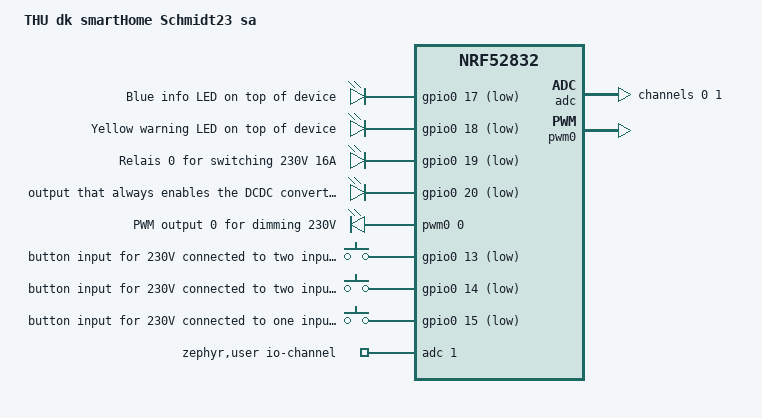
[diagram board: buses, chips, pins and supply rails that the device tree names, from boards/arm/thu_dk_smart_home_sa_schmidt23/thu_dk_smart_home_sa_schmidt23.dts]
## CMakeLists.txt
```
#
# Copyright (c) 2019 Nordic Semiconductor ASA
#
# SPDX-License-Identifier: LicenseRef-Nordic-5-Clause
#
cmake_minimum_required(VERSION 3.20.0)

find_package(Zephyr REQUIRED HINTS $ENV{ZEPHYR_BASE})
project(NONE)

# NORDIC SDK APP START
target_sources(app PRIVATE
	src/main.c
  src/conversion_helpers.c
	src/model_handler.c
  src/health_model.c
  src/relais_model.c
  src/lvl_model.c
  src/lightness_model.c
  src/relais_cli_mod.c
  src/lvl_cli_mod.c
  src/temperature_watchdog.c
  src/gpio_pwm_helpers.c)
target_include_directories(app PRIVATE include)

# Preinitialization related to DFU over SMP for nRF52 series
if(CONFIG_SOC_SERIES_NRF52X)
  target_sources_ifdef(CONFIG_MCUMGR_SMP_BT app PRIVATE
    src/smp_dfu.c)
endif()

# NORDIC SDK APP END
```

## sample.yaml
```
sample:
  description: Bluetooth mesh light sample
  name: Bluetooth mesh light
tests:
  sample.bluetooth.mesh.light:
    build_only: true
    integration_platforms:
      - nrf52dk_nrf52832
      - nrf52840dk_nrf52840
      - nrf52833dk_nrf52833
      - nrf5340dk_nrf5340_cpuapp
      - nrf5340dk_nrf5340_cpuapp_ns
      - thingy53_nrf5340_cpuapp
      - thingy53_nrf5340_cpuapp_ns
      - nrf21540dk_nrf52840
      - thu_proto_v1_0
    platform_allow: nrf52dk_nrf52832 nrf52840dk_nrf52840 nrf5340dk_nrf5340_cpuapp
      nrf5340dk_nrf5340_cpuapp_ns thingy53_nrf5340_cpuapp thingy53_nrf5340_cpuapp_ns
      nrf21540dk_nrf52840 nrf52833dk_nrf52833 thu_proto_v1_0
    tags: bluetooth ci_build
```

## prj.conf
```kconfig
#
# Copyright (c) 2019 Nordic Semiconductor ASA
#
# SPDX-License-Identifier: LicenseRef-Nordic-5-Clause
#
CONFIG_NCS_SAMPLES_DEFAULTS=y

# Deffered logging helps improve LPN power consumption
# when friendship is established.
CONFIG_LOG_MODE_DEFERRED=y

CONFIG_LOG_MAX_LEVEL=4

# General configuration
CONFIG_SYSTEM_WORKQUEUE_STACK_SIZE=2048
CONFIG_FLASH=y
CONFIG_FLASH_MAP=y
CONFIG_NVS=y
CONFIG_SETTINGS=y
CONFIG_HWINFO=y
CONFIG_DK_LIBRARY=n
CONFIG_PM_SINGLE_IMAGE=y
CONFIG_PM_PARTITION_SIZE_SETTINGS_STORAGE=0x8000
CONFIG_SOC_FLASH_NRF_PARTIAL_ERASE=y

# Bluetooth configuration
CONFIG_BT=y
# CONFIG_BT_COMPANY_ID=0x0059
CONFIG_BT_DEVICE_NAME="THU SH Mesh"
CONFIG_BT_L2CAP_TX_MTU=69
CONFIG_BT_L2CAP_TX_BUF_COUNT=8
CONFIG_BT_OBSERVER=y
CONFIG_BT_PERIPHERAL=y
CONFIG_BT_SETTINGS=y
CONFIG_BT_RX_STACK_SIZE=2150

# Disable unused Bluetooth features
CONFIG_BT_CTLR_DUP_FILTER_LEN=0
CONFIG_BT_CTLR_LE_ENC=n
CONFIG_BT_DATA_LEN_UPDATE=n
CONFIG_BT_PHY_UPDATE=n
CONFIG_BT_CTLR_CHAN_SEL_2=n
CONFIG_BT_CTLR_MIN_USED_CHAN=n
CONFIG_BT_CTLR_PRIVACY=n

# Bluetooth mesh configuration
CONFIG_BT_MESH=y
CONFIG_BT_MESH_RELAY=y
CONFIG_BT_MESH_FRIEND=y
CONFIG_BT_MESH_ADV_BUF_COUNT=13
CONFIG_BT_MESH_TX_SEG_MAX=10
CONFIG_BT_MESH_PB_GATT=y
CONFIG_BT_MESH_GATT_PROXY=y
CONFIG_BT_MESH_PROXY_USE_DEVICE_NAME=y
CONFIG_BT_MESH_DK_PROV=n

# Bluetooth mesh server models
CONFIG_BT_MESH_ONOFF_SRV=y
CONFIG_BT_MESH_LVL_SRV=y
CONFIG_BT_MESH_LIGHT_CTL_SRV=y
# Bluetooth mesh client models
CONFIG_BT_MESH_ONOFF_CLI=y
CONFIG_BT_MESH_LVL_CLI=y


# I/O configuration
CONFIG_PWM=y
CONFIG_ADC=y
```

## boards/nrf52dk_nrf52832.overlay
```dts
/ {
	zephyr,user {
	   io-channels = <&adc 1>;
	};

	aliases {
		//added for Hausautomatisierung
		//outputs
		healthinfoled = &led3;
		relaisoutput = &led1;
		relaiscloseoutput = &led1;
		dimmeroutput = &pwm_led0;
		dcdcen = &led2;
		//inputs
		relaistogglebutton = &button0;
		relaisleverrisingedge = &button0;
		relaisleverfallingedge = &button1;
		dimmonoffbuttonrisingedge = &button2;
		dimmonoffbuttonfallingedge = &button3;
		// end of Hausautomatisierung
	};
 };

 &adc {
	#address-cells = <1>;	//numer of cells required to represent a physical address
	#size-cells = <0>;		//number of cells required to represent the size of nodes that are children of this node

	channel@0 {
		reg = <0>;
		zephyr,gain = "ADC_GAIN_1_6";
		zephyr,reference = "ADC_REF_INTERNAL";
		zephyr,acquisition-time = <ADC_ACQ_TIME_DEFAULT>;
		zephyr,input-positive = <NRF_SAADC_AIN0>; /* P0.02 */
		zephyr,resolution = <12>;
		//zephyr,oversampling = < 4 >;
	};
	channel@1 {
		reg = <1>;		//describes the address of the device’s resources within the address space defined by its parent bus. Mostly is an offset
		zephyr,gain = "ADC_GAIN_1_6";
		zephyr,reference = "ADC_REF_INTERNAL";
		zephyr,acquisition-time = <ADC_ACQ_TIME_DEFAULT>;
		zephyr,input-positive = <NRF_SAADC_AIN1>; /* P0.03 */
		zephyr,resolution = <12>;
	};
	channel@2 {
		reg = <2>;		//describes the address of the device’s resources within the address space defined by its parent bus. Mostly is an offset
		zephyr,gain = "ADC_GAIN_1_6";
		zephyr,reference = "ADC_REF_INTERNAL";
		zephyr,acquisition-time = <ADC_ACQ_TIME_DEFAULT>;
		zephyr,input-positive = <NRF_SAADC_AIN2>; /* P0.04 */
		zephyr,resolution = <12>;
	};
	channel@3 {
		reg = <3>;		//describes the address of the device’s resources within the address space defined by its parent bus. Mostly is an offset
		zephyr,gain = "ADC_GAIN_1_6";
		zephyr,reference = "ADC_REF_INTERNAL";
		zephyr,acquisition-time = <ADC_ACQ_TIME_DEFAULT>;
		zephyr,input-positive = <NRF_SAADC_AIN3>; /* P0.05 */
		zephyr,resolution = <12>;
	};
	channel@4 {
		reg = <4>;		//describes the address of the device’s resources within the address space defined by its parent bus. Mostly is an offset
		zephyr,gain = "ADC_GAIN_1_6";
		zephyr,reference = "ADC_REF_INTERNAL";
		zephyr,acquisition-time = <ADC_ACQ_TIME_DEFAULT>;
		zephyr,input-positive = <NRF_SAADC_AIN4>; /* P0.28 */
		zephyr,resolution = <12>;
	};
	channel@5 {
		reg = <5>;		//describes the address of the device’s resources within the address space defined by its parent bus. Mostly is an offset
		zephyr,gain = "ADC_GAIN_1_6";
		zephyr,reference = "ADC_REF_INTERNAL";
		zephyr,acquisition-time = <ADC_ACQ_TIME_DEFAULT>;
		zephyr,input-positive = <NRF_SAADC_AIN5>; /* P0.29 */
		zephyr,resolution = <12>;
	};
	channel@6 {
		reg = <6>;		//describes the address of the device’s resources within the address space defined by its parent bus. Mostly is an offset
		zephyr,gain = "ADC_GAIN_1_6";
		zephyr,reference = "ADC_REF_INTERNAL";
		zephyr,acquisition-time = <ADC_ACQ_TIME_DEFAULT>;
		zephyr,input-positive = <NRF_SAADC_AIN6>; /* P0.30 */
		zephyr,resolution = <12>;
	};
	channel@7 {
		reg = <7>;		//describes the address of the device’s resources within the address space defined by its parent bus. Mostly is an offset
		zephyr,gain = "ADC_GAIN_1_6";
		zephyr,reference = "ADC_REF_INTERNAL";
		zephyr,acquisition-time = <ADC_ACQ_TIME_DEFAULT>;
		zephyr,input-positive = <NRF_SAADC_AIN7>; /* P0.31 */
		zephyr,resolution = <12>;
	};

};
&arduino_header {
	gpio-map = <0 0 &gpio0 3 0>,
			   <1 0 &gpio0 4 0>,
			   <2 0 &gpio0 28 0>,
			   <3 0 &gpio0 29 0>,
			   <4 0 &gpio0 30 0>,
			   <5 0 &gpio0 31 0>,
			   <6 0 &gpio0 11 0>,
			   <7 0 &gpio0 12 0>,
			   <8 0 &gpio0 13 0>,
			   <9 0 &gpio0 14 0>,
			   <10 0 &gpio0 15 0>,
			   <11 0 &gpio0 16 0>,
			   <12 0 &gpio0 17 0>,
			   <13 0 &gpio0 18 0>,
			   <14 0 &gpio0 19 0>,
			   <15 0 &gpio0 20 0>,
			   <16 0 &gpio0 22 0>,
			   <17 0 &gpio0 23 0>,
			   <18 0 &gpio0 24 0>,
			   <19 0 &gpio0 25 0>,
			   <20 0 &gpio0 26 0>,
			   <21 0 &gpio0 27 0>;
};
```

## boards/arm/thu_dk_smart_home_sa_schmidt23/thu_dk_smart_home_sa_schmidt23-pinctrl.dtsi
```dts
/*
 * Copyright (c) 2022 Nordic Semiconductor
 * SPDX-License-Identifier: Apache-2.0
 */

&pinctrl {
	// uart0_default: uart0_default {
	// 	group1 {
	// 		psels = <NRF_PSEL(UART_TX, 0, 6)>,
	// 			<NRF_PSEL(UART_RX, 0, 8)>,
	// 			<NRF_PSEL(UART_RTS, 0, 5)>,
	// 			<NRF_PSEL(UART_CTS, 0, 7)>;
	// 	};
	// };

	// uart0_sleep: uart0_sleep {
	// 	group1 {
	// 		psels = <NRF_PSEL(UART_TX, 0, 6)>,
	// 			<NRF_PSEL(UART_RX, 0, 8)>,
	// 			<NRF_PSEL(UART_RTS, 0, 5)>,
	// 			<NRF_PSEL(UART_CTS, 0, 7)>;
	// 		low-power-enable;
	// 	};
	// };

	// i2c0_default: i2c0_default {
	// 	group1 {
	// 		psels = <NRF_PSEL(TWIM_SDA, 0, 26)>,
	// 			<NRF_PSEL(TWIM_SCL, 0, 27)>;
	// 	};
	// };

	// i2c0_sleep: i2c0_sleep {
	// 	group1 {
	// 		psels = <NRF_PSEL(TWIM_SDA, 0, 26)>,
	// 			<NRF_PSEL(TWIM_SCL, 0, 27)>;
	// 		low-power-enable;
	// 	};
	// };

	// i2c1_default: i2c1_default {
	// 	group1 {
	// 		psels = <NRF_PSEL(TWIM_SDA, 0, 30)>,
	// 			<NRF_PSEL(TWIM_SCL, 0, 31)>;
	// 	};
	// };

	// i2c1_sleep: i2c1_sleep {
	// 	group1 {
	// 		psels = <NRF_PSEL(TWIM_SDA, 0, 30)>,
	// 			<NRF_PSEL(TWIM_SCL, 0, 31)>;
	// 		low-power-enable;
	// 	};
	// };

	pwm0_default: pwm0_default {
		group1 {
			psels = <NRF_PSEL(PWM_OUT0, 0, 17)>;
			nordic,invert;
		};
	};

	pwm0_sleep: pwm0_sleep {
		group1 {
			psels = <NRF_PSEL(PWM_OUT0, 0, 17)>;
			low-power-enable;
		};
	};

	// spi0_default: spi0_default {
	// 	group1 {
	// 		psels = <NRF_PSEL(SPIM_SCK, 0, 27)>,
	// 			<NRF_PSEL(SPIM_MOSI, 0, 26)>,
	// 			<NRF_PSEL(SPIM_MISO, 0, 28)>;
	// 	};
	// };

	// spi0_sleep: spi0_sleep {
	// 	group1 {
	// 		psels = <NRF_PSEL(SPIM_SCK, 0, 27)>,
	// 			<NRF_PSEL(SPIM_MOSI, 0, 26)>,
	// 			<NRF_PSEL(SPIM_MISO, 0, 28)>;
	// 		low-power-enable;
	// 	};
	// };

	// spi1_default: spi1_default {
	// 	group1 {
	// 		psels = <NRF_PSEL(SPIM_SCK, 0, 31)>,
	// 			<NRF_PSEL(SPIM_MOSI, 0, 30)>,
	// 			<NRF_PSEL(SPIM_MISO, 0, 29)>;
	// 	};
	// };

	// spi1_sleep: spi1_sleep {
	// 	group1 {
	// 		psels = <NRF_PSEL(SPIM_SCK, 0, 31)>,
	// 			<NRF_PSEL(SPIM_MOSI, 0, 30)>,
	// 			<NRF_PSEL(SPIM_MISO, 0, 29)>;
	// 		low-power-enable;
	// 	};
	// };

	// spi2_default: spi2_default {
	// 	group1 {
	// 		psels = <NRF_PSEL(SPIM_SCK, 0, 25)>,
	// 			<NRF_PSEL(SPIM_MOSI, 0, 23)>,
	// 			<NRF_PSEL(SPIM_MISO, 0, 24)>;
	// 	};
	// };

	// spi2_sleep: spi2_sleep {
	// 	group1 {
	// 		psels = <NRF_PSEL(SPIM_SCK, 0, 25)>,
	// 			<NRF_PSEL(SPIM_MOSI, 0, 23)>,
	// 			<NRF_PSEL(SPIM_MISO, 0, 24)>;
	// 		low-power-enable;
	// 	};
	// };

};
```

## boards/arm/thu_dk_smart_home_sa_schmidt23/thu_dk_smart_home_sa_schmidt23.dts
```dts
// Copyright (c) 2023 Nordic Semiconductor ASA
// SPDX-License-Identifier: Apache-2.0

/dts-v1/;
#include <nordic/nrf52832_qfaa.dtsi>
#include "thu_dk_smart_home_sa_schmidt23-pinctrl.dtsi"

/ {
	model = "THU dk smartHome Schmidt23 sa";
	compatible = "thu,thu-dk-smart-home-sa-schmidt23";

	chosen {
		zephyr,sram = &sram0;
		zephyr,flash = &flash0;
		zephyr,code-partition = &slot0_partition;
	};


	//TODO: maybe rename to outputs later
	leds {
		compatible = "gpio-leds";
		infoled0: info_led0 {
			//TODO: select right gpio
			gpios = <&gpio0 17 GPIO_ACTIVE_LOW>;
			label = "Blue info LED on top of device";
		};
		warnled1: warn_led1 {
			//TODO: select right gpio
			gpios = <&gpio0 18 GPIO_ACTIVE_LOW>;
			label = "Yellow warning LED on top of device";
		};
		relaisout0: relais_output0 {
			//TODO: select right gpio
			gpios = <&gpio0 19 GPIO_ACTIVE_LOW>;
			label = "Relais 0 for switching 230V 16A";
		};
		dcdcen: dcdc_enable {
			//TODO: select right gpio
			gpios = <&gpio0 20 GPIO_ACTIVE_LOW>;
			label = "output that always enables the DCDC converter for the power supply";
		};
	};


	pwmoutputs {
		compatible = "pwm-leds";
		pwm_output0: pwm_output_0 {
			//TODO: select right pin
			pwms = <&pwm0 0 PWM_MSEC(20) PWM_POLARITY_INVERTED>;
			label = "PWM output 0 for dimming 230V";
		};
	};


	buttons {
		compatible = "gpio-keys";
		button230v0a: button_230v_0_a {
			//TODO: select right pin
			gpios = <&gpio0 13 (GPIO_PULL_UP | GPIO_ACTIVE_LOW)>;
			label = "button input for 230V connected to two inputs (0a)";
		};
		button230v0b: button_230v_0_b {
			//TODO: select right pin
			gpios = <&gpio0 14 (GPIO_PULL_UP | GPIO_ACTIVE_LOW)>;
			label = "button input for 230V connected to two inputs (ob)";
		};
		button230v1: button_230v_1 {
			//TODO: select right pin
			gpios = <&gpio0 15 (GPIO_PULL_UP | GPIO_ACTIVE_LOW)>;
			label = "button input for 230V connected to one input (1)";
		};
	};


	aliases {
		led0 = &infoled0;
		led1 = &warnled1;
		relaisout0 = &relaisout0;
		dcdcen = &dcdcen;
		pwm-output0 = &pwm_output0;
		button230v0a = &button230v0a;
		button230v0b = &button230v0b;
		button230v1 = &button230v1;
		// bootloader-led0 = &infoled0;
		// mcuboot-button0 = &button230v0a;
		// mcuboot-led0 = &infoled0;
		// watchdog0 = &wdt0;

		// === added for smartHome === //
		//outputs
		infogreenled = &infoled0;
		relaisoutput = &relaisout0;
		dimmeroutput = &pwm_output0;
		//inputs
		relaistogglebutton = &button230v1;
		dimmonoffbuttonrisingedge = &button230v0a;
		dimmonoffbuttonfallingedge = &button230v0b;
		// end of Hausautomatisierung
	};
};

&adc {
	status = "okay";
};

&gpiote {
	status = "okay";
};




//for the leds branch:
&gpio0 {
	status = "okay";
};

//for the pwm outputs branch:
&pwm0 {
	status = "okay";
	pinctrl-0 = <&pwm0_default>;
	pinctrl-1 = <&pwm0_sleep>;
	pinctrl-names = "default", "sleep";
};

&flash0 {
	partitions {
		compatible = "fixed-partitions";
		#address-cells = <1>;
		#size-cells = <1>;

		boot_partition: partition@0 {
			label = "mcuboot";
			reg = <0x0 0xc000>;
		};
		slot0_partition: partition@c000 {
			label = "image-0";
			reg = <0xc000 0x32000>;
		};
		slot1_partition: partition@3e000 {
			label = "image-1";
			reg = <0x3e000 0x32000>;
		};
		scratch_partition: partition@70000 {
			label = "image-scratch";
			reg = <0x70000 0xa000>;
		};
		storage_partition: partition@7a000 {
			label = "storage";
			reg = <0x7a000 0x6000>;
		};
	};
};




//copied from overlay file:
/ {
	zephyr,user {
	   io-channels = <&adc 1>;
	};
};

&adc {
	status = "okay";
	#address-cells = <1>;	//numer of cells required to represent a physical address
	#size-cells = <0>;		//number of cells required to represent the size of nodes that are children of this node

	channel@0 {
		reg = <0>;
		zephyr,gain = "ADC_GAIN_1_6";
		zephyr,reference = "ADC_REF_INTERNAL";
		zephyr,acquisition-time = <ADC_ACQ_TIME_DEFAULT>;
		zephyr,input-positive = <NRF_SAADC_AIN0>; /* P0.02 */
		zephyr,resolution = <12>;
		//zephyr,oversampling = < 4 >;
	};
	channel@1 {
		reg = <1>;		//describes the address of the device’s resources within the address space defined by its parent bus. Mostly is an offset
		zephyr,gain = "ADC_GAIN_1_6";
		zephyr,reference = "ADC_REF_INTERNAL";
		zephyr,acquisition-time = <ADC_ACQ_TIME_DEFAULT>;
		zephyr,input-positive = <NRF_SAADC_AIN1>; /* P0.03 */
		zephyr,resolution = <12>;
	};
};
```

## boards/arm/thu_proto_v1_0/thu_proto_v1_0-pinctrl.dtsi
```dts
/*
 * Copyright (c) 2022 Nordic Semiconductor
 * SPDX-License-Identifier: Apache-2.0
 */

 &pinctrl {
	uart0_default: uart0_default {
		group1 {
			psels = <NRF_PSEL(UART_TX, 0, 6)>,
				<NRF_PSEL(UART_RX, 0, 8)>,
				<NRF_PSEL(UART_RTS, 0, 5)>,
				<NRF_PSEL(UART_CTS, 0, 7)>;
		};
	};

	uart0_sleep: uart0_sleep {
		group1 {
			psels = <NRF_PSEL(UART_TX, 0, 6)>,
				<NRF_PSEL(UART_RX, 0, 8)>,
				<NRF_PSEL(UART_RTS, 0, 5)>,
				<NRF_PSEL(UART_CTS, 0, 7)>;
			low-power-enable;
		};
	};

	i2c0_default: i2c0_default {
		group1 {
			psels = <NRF_PSEL(TWIM_SDA, 0, 26)>,
				<NRF_PSEL(TWIM_SCL, 0, 27)>;
		};
	};

	i2c0_sleep: i2c0_sleep {
		group1 {
			psels = <NRF_PSEL(TWIM_SDA, 0, 26)>,
				<NRF_PSEL(TWIM_SCL, 0, 27)>;
			low-power-enable;
		};
	};

	i2c1_default: i2c1_default {
		group1 {
			psels = <NRF_PSEL(TWIM_SDA, 0, 30)>,
				<NRF_PSEL(TWIM_SCL, 0, 31)>;
		};
	};

	i2c1_sleep: i2c1_sleep {
		group1 {
			psels = <NRF_PSEL(TWIM_SDA, 0, 30)>,
				<NRF_PSEL(TWIM_SCL, 0, 31)>;
			low-power-enable;
		};
	};

	pwm0_default: pwm0_default {
		group1 {
			psels = <NRF_PSEL(PWM_OUT0, 0, 17)>;
			nordic,invert;
		};
	};

	pwm0_sleep: pwm0_sleep {
		group1 {
			psels = <NRF_PSEL(PWM_OUT0, 0, 17)>;
			low-power-enable;
		};
	};

	spi0_default: spi0_default {
		group1 {
			psels = <NRF_PSEL(SPIM_SCK, 0, 27)>,
				<NRF_PSEL(SPIM_MOSI, 0, 26)>,
				<NRF_PSEL(SPIM_MISO, 0, 28)>;
		};
	};

	spi0_sleep: spi0_sleep {
		group1 {
			psels = <NRF_PSEL(SPIM_SCK, 0, 27)>,
				<NRF_PSEL(SPIM_MOSI, 0, 26)>,
				<NRF_PSEL(SPIM_MISO, 0, 28)>;
			low-power-enable;
		};
	};

	spi1_default: spi1_default {
		group1 {
			psels = <NRF_PSEL(SPIM_SCK, 0, 31)>,
				<NRF_PSEL(SPIM_MOSI, 0, 30)>,
				<NRF_PSEL(SPIM_MISO, 0, 29)>;
		};
	};

	spi1_sleep: spi1_sleep {
		group1 {
			psels = <NRF_PSEL(SPIM_SCK, 0, 31)>,
				<NRF_PSEL(SPIM_MOSI, 0, 30)>,
				<NRF_PSEL(SPIM_MISO, 0, 29)>;
			low-power-enable;
		};
	};

	spi2_default: spi2_default {
		group1 {
			psels = <NRF_PSEL(SPIM_SCK, 0, 25)>,
				<NRF_PSEL(SPIM_MOSI, 0, 23)>,
				<NRF_PSEL(SPIM_MISO, 0, 24)>;
		};
	};

	spi2_sleep: spi2_sleep {
		group1 {
			psels = <NRF_PSEL(SPIM_SCK, 0, 25)>,
				<NRF_PSEL(SPIM_MOSI, 0, 23)>,
				<NRF_PSEL(SPIM_MISO, 0, 24)>;
			low-power-enable;
		};
	};

};
```

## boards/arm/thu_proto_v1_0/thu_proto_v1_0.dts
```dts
// Copyright (c) 2023 Nordic Semiconductor ASA
// SPDX-License-Identifier: Apache-2.0

/dts-v1/;
#include <nordic/nrf52832_qfaa.dtsi>
#include "thu_proto_v1_0-pinctrl.dtsi"

/ {
	model = "thu prototype pcb v1_0";
	compatible = "thu,thu-proto-v1-0";

	chosen {
		zephyr,sram = &sram0;
		zephyr,flash = &flash0;
		zephyr,code-partition = &slot0_partition;
	};

	leds {
		compatible = "gpio-leds";
		infoled0: info_led0 {
			gpios = <&gpio0 1 GPIO_ACTIVE_HIGH>;
			label = "Blue info LED on top of device";
		};
		warnled1: warn_led1 {
			gpios = <&gpio0 2 GPIO_ACTIVE_HIGH>;
			label = "Yellow warning LED on top of device";
		};
		relaisout0set: relais_output0_set {
			gpios = <&gpio0 14 GPIO_ACTIVE_HIGH>;
			label = "Relais 0 for switching on 230V 16A or toggling led on devKit";
		};
		relaisout0reset: relais_output0_reset {
			gpios = <&gpio0 15 GPIO_ACTIVE_HIGH>;
			label = "Relais 0 for switching off 230V 16A";
		};
		dcdcen: dcdc_enable {
			gpios = <&gpio0 22 GPIO_ACTIVE_HIGH>;
			label = "output to always enable the DCDC converter of the power supply";
		};
	};

	pwmoutputs {
		compatible = "pwm-leds";
		pwm_output0: pwm_output_0 {
			//! pwm led not added on this pcb
			pwms = <&pwm0 0 PWM_MSEC(20) PWM_POLARITY_INVERTED>;
			label = "PWM output 0 for dimming 230V. This output is not present on this pcb!";
		};
	};

	buttons {
		compatible = "gpio-keys";
		button230v0a: button_230v_0_a {
			gpios = <&gpio0 7 (GPIO_ACTIVE_LOW)>;
			label = "button input for 230V connected to two inputs (0a)";
		};
		button230v0b: button_230v_0_b {
			gpios = <&gpio0 8 (GPIO_ACTIVE_LOW)>;
			label = "button input for 230V connected to two inputs (ob)";
		};
	};

	/* These aliases are provided for compatibility with samples */
	aliases {
		led0 = &infoled0;
		led1 = &warnled1;
		relaisout0set = &relaisout0set;
		relaisout0reset = &relaisout0reset;
		dcdcen = &dcdcen;
		pwm-output0 = &pwm_output0;
		button230v0a = &button230v0a;
		button230v0b = &button230v0b;
		bootloader-led0 = &infoled0;
		mcuboot-button0 = &button230v0a;
		mcuboot-led0 = &infoled0;
		watchdog0 = &wdt0;
		//added for Hausautomatisierung
		//outputs
		healthinfoled = &infoled0;
		togglewarnled = &warnled1;
		relaisoutput = &relaisout0set;
		relaiscloseoutput = &relaisout0set;
		relaisopenoutput = &relaisout0reset;
		dimmeroutput = &pwm_output0;
		//inputs
		relaistogglebutton = &button230v0a;
		relaisleverrisingedge = &button230v0a;
		relaisleverfallingedge = &button230v0b;
		dimmonoffbuttonrisingedge = &button230v0a;
		dimmonoffbuttonfallingedge = &button230v0b;
		// end of Hausautomatisierung
	};
};

&adc {
	status = "okay";
};

&gpiote {		//for interrupts
	status = "okay";
};

&gpio0 {		//for gpio pins
	status = "okay";
};

&pwm0 {
	status = "okay";
	pinctrl-0 = <&pwm0_default>;
	pinctrl-1 = <&pwm0_sleep>;
	pinctrl-names = "default", "sleep";
};

&flash0 {

	partitions {
		compatible = "fixed-partitions";
		#address-cells = <1>;
		#size-cells = <1>;

		boot_partition: partition@0 {
			label = "mcuboot";
			reg = <0x00000000 0xc000>;
		};
		slot0_partition: partition@c000 {
			label = "image-0";
			reg = <0x0000C000 0x32000>;
		};
		slot1_partition: partition@3e000 {
			label = "image-1";
			reg = <0x0003E000 0x32000>;
		};
		scratch_partition: partition@70000 {
			label = "image-scratch";
			reg = <0x00070000 0xa000>;
		};
		storage_partition: partition@7a000 {
			label = "storage";
			reg = <0x0007a000 0x00006000>;
		};
	};
};








// overlay
/ {
	zephyr,user {
	   io-channels = <&adc 1>;
	};
 };

 &adc {
	#address-cells = <1>;	//numer of cells required to represent a physical address
	#size-cells = <0>;		//number of cells required to represent the size of nodes that are children of this node

	channel@0 {
		reg = <0>;
		zephyr,gain = "ADC_GAIN_1_6";
		zephyr,reference = "ADC_REF_INTERNAL";
		zephyr,acquisition-time = <ADC_ACQ_TIME_DEFAULT>;
		zephyr,input-positive = <NRF_SAADC_AIN0>; /* P0.02 */
		zephyr,resolution = <12>;
		//zephyr,oversampling = < 4 >;
	};
	channel@1 {
		reg = <1>;		//describes the address of the device’s resources within the address space defined by its parent bus. Mostly is an offset
		zephyr,gain = "ADC_GAIN_1_6";
		zephyr,reference = "ADC_REF_INTERNAL";
		zephyr,acquisition-time = <ADC_ACQ_TIME_DEFAULT>;
		zephyr,input-positive = <NRF_SAADC_AIN1>; /* P0.03 */
		zephyr,resolution = <12>;
	};
	channel@2 {
		reg = <2>;		//describes the address of the device’s resources within the address space defined by its parent bus. Mostly is an offset
		zephyr,gain = "ADC_GAIN_1_6";
		zephyr,reference = "ADC_REF_INTERNAL";
		zephyr,acquisition-time = <ADC_ACQ_TIME_DEFAULT>;
		zephyr,input-positive = <NRF_SAADC_AIN2>; /* P0.04 */
		zephyr,resolution = <12>;
	};
	channel@3 {
		reg = <3>;		//describes the address of the device’s resources within the address space defined by its parent bus. Mostly is an offset
		zephyr,gain = "ADC_GAIN_1_6";
		zephyr,reference = "ADC_REF_INTERNAL";
		zephyr,acquisition-time = <ADC_ACQ_TIME_DEFAULT>;
		zephyr,input-positive = <NRF_SAADC_AIN3>; /* P0.05 */
		zephyr,resolution = <12>;
	};
	channel@4 {
		reg = <4>;		//describes the address of the device’s resources within the address space defined by its parent bus. Mostly is an offset
		zephyr,gain = "ADC_GAIN_1_6";
		zephyr,reference = "ADC_REF_INTERNAL";
		zephyr,acquisition-time = <ADC_ACQ_TIME_DEFAULT>;
		zephyr,input-positive = <NRF_SAADC_AIN4>; /* P0.28 */
		zephyr,resolution = <12>;
	};
	channel@5 {
		reg = <5>;		//describes the address of the device’s resources within the address space defined by its parent bus. Mostly is an offset
		zephyr,gain = "ADC_GAIN_1_6";
		zephyr,reference = "ADC_REF_INTERNAL";
		zephyr,acquisition-time = <ADC_ACQ_TIME_DEFAULT>;
		zephyr,input-positive = <NRF_SAADC_AIN5>; /* P0.29 */
		zephyr,resolution = <12>;
	};
	channel@6 {
		reg = <6>;		//describes the address of the device’s resources within the address space defined by its parent bus. Mostly is an offset
		zephyr,gain = "ADC_GAIN_1_6";
		zephyr,reference = "ADC_REF_INTERNAL";
		zephyr,acquisition-time = <ADC_ACQ_TIME_DEFAULT>;
		zephyr,input-positive = <NRF_SAADC_AIN6>; /* P0.30 */
		zephyr,resolution = <12>;
	};
	channel@7 {
		reg = <7>;		//describes the address of the device’s resources within the address space defined by its parent bus. Mostly is an offset
		zephyr,gain = "ADC_GAIN_1_6";
		zephyr,reference = "ADC_REF_INTERNAL";
		zephyr,acquisition-time = <ADC_ACQ_TIME_DEFAULT>;
		zephyr,input-positive = <NRF_SAADC_AIN7>; /* P0.31 */
		zephyr,resolution = <12>;
	};

};
```

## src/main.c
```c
#include <zephyr/bluetooth/bluetooth.h>
#include <bluetooth/mesh/models.h>
#include "model_handler.h"


#include <zephyr/bluetooth/mesh.h>
#include <zephyr/drivers/hwinfo.h>
#include "gpio_pwm_helpers.h"
#include "temperature_watchdog.h"
#include "health_model.h"

#include <zephyr/logging/log.h>
LOG_MODULE_REGISTER(MAIN,LOG_LEVEL_DBG);

// ======================== DcDc enable ===================================== //

#define DCDCEN_NODE    DT_ALIAS(dcdcen)

#if DT_NODE_HAS_STATUS(DCDCEN_NODE, okay)
static const struct gpio_dt_spec dcdcen_spec = GPIO_DT_SPEC_GET(DCDCEN_NODE, gpios);
#else
#error "Unsupported board: dcdcen devicetree alias is not defined"
#endif

// ======================== Temperature watchdog ============================ //

//adc
#if !DT_NODE_EXISTS(DT_PATH(zephyr_user)) || \
	!DT_NODE_HAS_PROP(DT_PATH(zephyr_user), io_channels)
#error "No suitable devicetree overlay specified"
#endif

#define DT_SPEC_AND_COMMA(node_id, prop, idx) \
	ADC_DT_SPEC_GET_BY_IDX(node_id, idx),


static const struct adc_dt_spec adc_channels[] = {
	DT_FOREACH_PROP_ELEM(DT_PATH(zephyr_user), io_channels,
			     DT_SPEC_AND_COMMA)
};

static struct adc_channel_ctx adc_ctx;

//instance of temperature watchdog
struct temp_watchdog_ctx temperature_watchdog;

//wrappers for notification functions
void temp_watchdog_notify_overheating(void)
{
	attention_on(NULL);
	LOG_DBG("Send notification about overheating");
}
void temp_watchdog_notify_ok(void)
{
	attention_off(NULL);
	LOG_DBG("Send notification about normalized temperature");
}





// ================ provisioning model ====================================== //
/** quick and dirty implementation of a provisioning model. 
 * This model mainly generates a semi random uuid*/

static uint8_t dev_uuid[16];

static const struct bt_mesh_prov prov = {
	.uuid = dev_uuid,
};

static const struct bt_mesh_prov *bt_mesh_MY_prov_init(void)
{
	/* Generate an RFC-4122 version 4 compliant UUID.
	See dk_prov.c for details*/
	size_t id_len = hwinfo_get_device_id(dev_uuid, sizeof(dev_uuid));
	if (!IS_ENABLED(CONFIG_BT_MESH_DK_LEGACY_UUID_GEN)) {
		for (size_t i = id_len; i < sizeof(dev_uuid); i++) {
			dev_uuid[i] = dev_uuid[i % id_len] ^ 0xff;
		}
	}
	dev_uuid[6] = (dev_uuid[6] & BIT_MASK(4)) | BIT(6);
	dev_uuid[8] = (dev_uuid[8] & BIT_MASK(6)) | BIT(7);
	return &prov;
}











/// @brief function to set up the whole bluetooth mesh stack
/// @param err error code of the function that calls this function
static void bt_ready(int err)
{
	if (err) {
		LOG_ERR("Bluetooth LE-Stack init failed (err %d)\n", err);
		return;
	}

	LOG_INF("Bluetooth LE-Stack initialized\n");


	err = bt_mesh_init(bt_mesh_MY_prov_init(), model_handler_init());
	if (err) {
		LOG_ERR("Initializing mesh failed (err %d)\n", err);
		return;
	}

	//check if device saved provisioning data before. If yes, load that data
	if (IS_ENABLED(CONFIG_SETTINGS)) {
		settings_load();
	}

	//exp: This will not be executed if settings_load() loaded provisioning info
	bt_mesh_prov_enable(BT_MESH_PROV_ADV | BT_MESH_PROV_GATT);

	LOG_INF("Mesh initialized\n");
}





static int16_t readTemperatureFromADC_wrapper(void)
{
	int16_t adc_value = 400; //read_adc_digital(&adc_ctx);
	//TODO: convert adc value to temperature properly
	return adc_value / 20;
}






// ============================ MAIN ======================================== //
void main(void)
{
	int err;
	// set DcDc enable pin high first 
	// to prevent DcDc-converter from powering down again
	err = abs(single_device_init(dcdcen_spec.port));
	err += abs(gpio_pin_configure_dt(&dcdcen_spec, GPIO_OUTPUT_ACTIVE));
	if (err != 0) {
		LOG_ERR("DcDc enable pin init failed (err %d)", err);
		return;
	}
	//init and schedule constant temperature check
	err = adc_pin_init(&adc_channels[0], &adc_ctx);
	if (err != 0) {
		LOG_ERR("ADC init failed (err %d)\n", err);
		return;
	}
	err = init_temperature_watchdog(&temperature_watchdog, 
		readTemperatureFromADC_wrapper,
		temp_watchdog_notify_overheating,
		temp_watchdog_notify_ok);



	LOG_DBG("Initializing...\n");

	err = bt_enable(bt_ready);
	if (err) {
		LOG_ERR("Bluetooth init failed (err %d)\n", err);
	}
}
```

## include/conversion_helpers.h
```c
/**
 * @file
 * @brief Model handler
 */

#ifndef CONVERSION_HELPERS_H__
#define CONVERSION_HELPERS_H__

#include <zephyr/bluetooth/mesh.h>

#include <zephyr/bluetooth/bluetooth.h>
#include <zephyr/bluetooth/mesh/proxy.h>
#include <bluetooth/mesh/models.h>


#ifdef __cplusplus
extern "C" {
#endif

/// @brief convert a signed int to an unsigned int 
/// @param inputLevel the signed int
/// @return the mapped unsigned int
uint16_t mesh_level2struct_level(int16_t mesh_level);


/// @brief convert an unsigned int to a signed int 
/// @param struct_level the unsigned int
/// @return the mapped signed int
int16_t struct_level2mesh_level(uint16_t struct_level);

#ifdef __cplusplus
}
#endif

#endif /* CONVERSION_HELPERS_H__ */
```

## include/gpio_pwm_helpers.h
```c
#ifndef GPIO_PWM_HELPERS_H__
#define GPIO_PWM_HELPERS_H__

#include <inttypes.h>
#include <stddef.h>
#include <stdint.h>

#include <zephyr/device.h>
#include <zephyr/devicetree.h>
#include <zephyr/drivers/adc.h>
#include <zephyr/kernel.h>
#include <zephyr/sys/printk.h>
#include <zephyr/sys/util.h>

#include <zephyr/types.h>
#include <bluetooth/mesh/models.h>

#include <zephyr/drivers/pwm.h>
#include <zephyr/drivers/gpio.h>

#ifdef __cplusplus
extern "C" {
#endif


/// @brief checks if the device is ready & outputs info to console
/// @param dev device instance of the pin to control
/// @return Zero on success or (negative) error code otherwise
int single_device_init(const struct device *dev);


/// @brief sets the specific pin to this lvl
/// @param pwm_spec pwm instance of the pin to control
/// @param desired_lvl is mapped between 0 and BT_MESH_LIGHTNESS_MAX
void lc_pwm_output_set(const struct pwm_dt_spec *pwm_spec, 
            const uint16_t desired_lvl);


/// @brief performs necessary steps to register a pin as interrupt 
/// @param spec the pin specification (normally from GPIO_DT_SPEC_GET)
/// @param flags type of interrupt (rising edge, ...)
/// @param callback callback struct 
/// @param handler function to execute on callback
/// @return 0 on success, otherwise sum of error codes
int configure_gpi_interrupt(const struct gpio_dt_spec *spec, 
			gpio_flags_t flags, 
			struct gpio_callback *callback, 
			gpio_callback_handler_t handler);


struct adc_channel_ctx {
	//buffer to store analog value
	int16_t buf;

	struct adc_sequence sequence;
	//channel to use
	const struct adc_dt_spec *adc_channel;
};


int adc_pin_init(const struct adc_dt_spec *adc_channel, 
			struct adc_channel_ctx *adc_ctx);

int16_t read_adc_digital(struct adc_channel_ctx *adc_ctx);

int32_t read_adc_volt(struct adc_channel_ctx *adc_ctx);


#ifdef __cplusplus
}
#endif

#endif /* GPIO_PWM_HELPERS_H__ */
```

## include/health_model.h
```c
/**
 * @file
 * @brief Model handler
 */

#ifndef HEALTH_MODEL_H__
#define HEALTH_MODEL_H__

#include <zephyr/bluetooth/mesh.h>

#include <zephyr/bluetooth/bluetooth.h>
#include <bluetooth/mesh/models.h>

#include "gpio_pwm_helpers.h"


#ifdef __cplusplus
extern "C" {
#endif


/// @brief function to execute when node shall attract attention
/// @param mod 
void attention_on(struct bt_mesh_model *mod);

/// @brief function to stop attracting attention
/// @param mod 
void attention_off(struct bt_mesh_model *mod);

/// @brief shall be called before attention is used
/// @return 0 on success
int attention_init();

/// @brief function to execute when node shall warn
/// @param mod 
void warn_on(struct bt_mesh_model *mod);

#ifdef __cplusplus
}
#endif

#endif /* HEALTH_MODEL_H__ */
```

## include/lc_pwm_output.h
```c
/**
 * @file
 * @brief Lc pwm led module
 */

#ifndef LC_PWM_OUTPUT_H__
#define LC_PWM_OUTPUT_H__

#include <zephyr/types.h>
#include <bluetooth/mesh/models.h>

#include <zephyr/drivers/pwm.h>
#include <zephyr/drivers/gpio.h>

#ifdef __cplusplus
extern "C" {
#endif


/// @brief checks if the device is ready & outputs info to console
/// @param dev device instance of the pin to control
/// @return Zero on success or (negative) error code otherwise
int single_device_init(const struct device *dev);


/// @brief sets the specific pin to this lvl
/// @param pwm_spec pwm instance of the pin to control
/// @param desired_lvl is mapped between 0 and BT_MESH_LIGHTNESS_MAX
void lc_pwm_output_set(const struct pwm_dt_spec *pwm_spec, 
            const uint16_t desired_lvl);


/// @brief performs necessary steps to register a pin as interrupt 
/// @param spec the pin specification (normally from GPIO_DT_SPEC_GET)
/// @param flags type of interrupt (rising edge, ...)
/// @param callback callback struct 
/// @param handler function to execute on callback
/// @return 0 on success, otherwise sum of error codes
int configure_gpi_interrupt(const struct gpio_dt_spec *spec, 
			gpio_flags_t flags, 
			struct gpio_callback *callback, 
			gpio_callback_handler_t handler);


#ifdef __cplusplus
}
#endif

#endif /* LC_PWM_OUTPUT_H__ */
```

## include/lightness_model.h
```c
/**
 * @file
 * @brief Model handler
 */

#ifndef LIGHTNESS_MODEL_H__
#define LIGHTNESS_MODEL_H__

#include <zephyr/bluetooth/mesh.h>

#include <zephyr/bluetooth/bluetooth.h>
#include <bluetooth/mesh/models.h>


#ifdef __cplusplus
extern "C" {
#endif

#define PWM_SIZE_STEP 512		
//by how much the pwm value should be changed each step 
//(so changing light always uses this step size that will be called more or less often, 
//depending how drastically light has to change)

struct lightness_ctx {
	struct bt_mesh_lightness_srv srv;
	struct k_work_delayable work;
	uint16_t target_lvl;
	uint16_t current_lvl;
	uint32_t time_period;       //total time for light to change from current_lvl to target_lvl
	uint32_t remaining_time;    //time until transition (including delay) is finished
	void (*pwm_output)(uint16_t level);	//function pointer to execute set value
};


/// @brief callback to handle incoming messages for lightness set opcode
// will execute start_new_light_transition and give a status update in the rsp
/// @param srv lightness server instance
/// @param ctx context of the message (not used)
/// @param set how the light should look in future (level and transition)
/// @param rsp status response message
void light_set(struct bt_mesh_lightness_srv *srv,
		      struct bt_mesh_msg_ctx *ctx,
		      const struct bt_mesh_lightness_set *set,
		      struct bt_mesh_lightness_status *rsp);


/// @brief callback to handle incoming messages for lightness get opcode
/// @param srv lightness server instance
/// @param ctx context of the message (not used)
/// @param rsp status response message
void light_get(struct bt_mesh_lightness_srv *srv, 
                struct bt_mesh_msg_ctx *ctx,
		        struct bt_mesh_lightness_status *rsp);




void lightness_work(struct k_work *work);

#ifdef __cplusplus
}
#endif

#endif /* LIGHTNESS_MODEL_H__ */
```

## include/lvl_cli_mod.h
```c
/**
 * @file
 * @brief Model handler
 */

#ifndef LVL_CLI_MOD_H__
#define LVL_CLI_MOD_H__

#include <zephyr/bluetooth/mesh.h>

#include <zephyr/bluetooth/bluetooth.h>
#include <zephyr/bluetooth/mesh/proxy.h>
#include <bluetooth/mesh/models.h>

#include "conversion_helpers.h"


#ifdef __cplusplus
extern "C" {
#endif

struct dimmable_cli_ctx {
	/** Current level status of the corresponding server. */
    uint16_t current_lvl;
    /** Target level status of the corresponding server*/
    uint16_t target_lvl;
	/** Generic OnOff client instance for this switch. */
	struct bt_mesh_lvl_cli client;
};


/// @brief for handling the incoming status messages
/// @param cli 
/// @param ctx 
/// @param status 
void level_status_handler(struct bt_mesh_lvl_cli *cli,
            struct bt_mesh_msg_ctx *ctx,
            const struct bt_mesh_lvl_status *status);


/// @brief set a specific level 
/// @param button 
/// @param level
/// @param transition transition struct to set delay or transition time
/// @return error code of set message (0 if successful)
int set_level(struct dimmable_cli_ctx *button, 
            uint16_t level,
            const struct bt_mesh_model_transition *transition);


/// @brief set a specific move speed
/// @param button 
/// @param delta size of a step
/// @param per_ms time to wait in ms between steps
/// @param delay time to wait in ms before starting move transition
/// @return error code of set message (0 if successful)
int move_level(struct dimmable_cli_ctx *button, 
            int16_t delta, 
            uint32_t per_ms, 
            uint32_t delay);



//!!!following is dirty implementation as onOff Model is not used!!!

/**
 * @brief The following code implements a control structure 
 * that can differ how long a button is pressed 
 * and either toggles the appliance on or off 
 * or increases / decreases (alternating) the level of the appliance.
 * 
 * This code provides 2 business functions:
 * one that shall be called when the button is pressed,
 * the other shall be called when the button is released
 * 
 * Before using it shall be initialised via onOff_dim_decider_init
 */

#define TIME_ONOFF_DIM_DECIDE_4_DIM 2000

struct onOff_dim_decider_data {
    struct dimmable_cli_ctx *client_ctx;
    /** When turning off the last level is saved here to be able to restore
     * is used in function: toggle_lvl_onOff
     * When currently on, this is set to 0
    */
    uint16_t last_lvl;
    /** work structure needed for decider function*/
    struct k_work_delayable dec_work;
    /** true when increase was done last, false when decrease was done last*/
    bool last_increased;
    /** timestamp needed for calculation how long button was pressed*/
    int64_t timestamp;
    /** true when turning-on was done last, false when turning-off*/
    bool last_pressed;
};

/// @brief initialize the onOff_dim_decider_data struct
/// @param data empty struct that shall be used for storing
/// @param button the client that shall be controlled
void onOff_dim_decider_init(struct onOff_dim_decider_data *data, 
            struct dimmable_cli_ctx *button);


/// @brief function that shall be called when the button is pressed
/// @param data 
void onOff_dim_decider_pressed(struct onOff_dim_decider_data *data);


/// @brief function that shall be called when the button is released
/// @param data 
void onOff_dim_decider_released(struct onOff_dim_decider_data *data);





#ifdef __cplusplus
}
#endif

#endif /* LVL_CLI_MOD_H__ */
```

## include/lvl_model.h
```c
/**
 * @file
 * @brief Model handler
 */

#ifndef LEVEL_MODEL_H__
#define LEVEL_MODEL_H__

#include <zephyr/bluetooth/mesh.h>

#include <zephyr/bluetooth/bluetooth.h>
#include <bluetooth/mesh/models.h>
#include "conversion_helpers.h"


#ifdef __cplusplus
extern "C" {
#endif

#define PWM_SIZE_STEP 512		
//by how much the pwm value should be changed each step 
//(so changing light always uses this step size 
//that will be called more or less often, 
//depending how drastically light has to change)

struct dimmable_srv_ctx {
	struct bt_mesh_lvl_srv srv;		//server instance
	struct k_work_delayable work;
	//remaining time until operation is finished
	uint32_t remaining_time;		
	//how long to wait in between the steps of size: PWM_SIZE_STEP
	uint32_t time_period;			
	uint16_t current_lvl;
	uint16_t target_lvl;
	//how fast the light shall be changed (speed depends on time_period)
	int16_t move_step; 				
	uint16_t (*pwm_output)(uint16_t level);	//function pointer to execute set value
};

/// @brief set state of a dimmable element
/// @param srv server instance
/// @param ctx 
/// @param set new Level Status value
/// @param rsp used to store the response
void dimmable_set(struct bt_mesh_lvl_srv *srv,
			struct bt_mesh_msg_ctx *ctx,
		    const struct bt_mesh_lvl_set *set,
		    struct bt_mesh_lvl_status *rsp);


/// @brief get state of a dimmable element
/// @param srv server instance
/// @param ctx 
/// @param rsp used to store the response
void dimmable_get(struct bt_mesh_lvl_srv *srv, struct bt_mesh_msg_ctx *ctx,
		    struct bt_mesh_lvl_status *rsp);


/// @brief set state of a dimmable element
/// @param srv server instance
/// @param ctx 
/// @param delta_set speed of the change (steps / ms)
/// @param rsp used to store the response
void dimmable_move_set(struct bt_mesh_lvl_srv *srv, 
			struct bt_mesh_msg_ctx *ctx,
			const struct bt_mesh_lvl_move_set *move_set,
			struct bt_mesh_lvl_status *rsp);


/// @brief periodically calls itself until target_lvl is reached
/// @param work 
void dimmable_work(struct k_work *work);


/// @brief function to call when the element was modified from outside, 
// e.g. due to safety mechanics
/// @param d_srv_ctx 
/// @param current_lvl 
/// @param target_lvl 
/// @param remaining_time 
void dimmable_update(struct dimmable_srv_ctx *d_srv_ctx, 
			uint16_t current_lvl, 
			uint16_t target_lvl, 
			uint32_t remaining_time);

#ifdef __cplusplus
}
#endif

#endif /* LEVEL_MODEL_H__ */
```

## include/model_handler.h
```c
#ifndef MODEL_HANDLER_H__
#define MODEL_HANDLER_H__

#include <zephyr/bluetooth/mesh.h>
#include <zephyr/bluetooth/bluetooth.h>
#include <bluetooth/mesh/models.h>

#include "temperature_watchdog.h"


#include "health_model.h"
#include "relais_model.h"
#include "lvl_model.h"
//#include "lightness_model.h"
// =====================
#include "relais_cli_mod.h"
#include "lvl_cli_mod.h"

#include"gpio_pwm_helpers.h"					//for in & outut (gpio)



#ifdef __cplusplus
extern "C" {
#endif

/// @brief shall be called when initializing bluetooth stack
/// (normally via bt_mesh_init)
const struct bt_mesh_comp *model_handler_init(void);

#ifdef __cplusplus
}
#endif

#endif /* MODEL_HANDLER_H__ */
```

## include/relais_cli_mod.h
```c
/**
 * @file
 * @brief Model handler
 */

#ifndef RELAIS_CLI_MOD_H__
#define RELAIS_CLI_MOD_H__

#include <zephyr/bluetooth/mesh.h>

#include <zephyr/bluetooth/bluetooth.h>
#include <zephyr/bluetooth/mesh/proxy.h>
#include <bluetooth/mesh/models.h>


#ifdef __cplusplus
extern "C" {
#endif


struct relais_cli_ctx {
	/** Current light status of the corresponding server. */
	bool status;
	/** Generic OnOff client instance for this switch. */
	struct bt_mesh_onoff_cli client;
};


/// @brief save incoming status in button struct
/// @param cli instance of the client
/// @param ctx message context
/// @param status status to read from
void relais_status_handler(struct bt_mesh_onoff_cli *cli,
			   struct bt_mesh_msg_ctx *ctx,
			   const struct bt_mesh_onoff_status *status);


/// @brief 
/// @param button 
/// @return error code of set message (0 if successful)
int toggle_onoff(struct relais_cli_ctx *button);


/// @brief 
/// @param button 
/// @param onOff true = on, false = off 
/// @return error code of set message (0 if successful)
int set_onoff(struct relais_cli_ctx *button, bool onOff);


#ifdef __cplusplus
}
#endif

#endif /* RELAIS_CLI_MOD_H__ */
```

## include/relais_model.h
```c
/**
 * @file
 * @brief Model handler
 */

#ifndef RELAIS_MODEL_H__
#define RELAIS_MODEL_H__

#include <zephyr/bluetooth/mesh.h>

#include <zephyr/bluetooth/bluetooth.h>
#include <bluetooth/mesh/models.h>


#ifdef __cplusplus
extern "C" {
#endif


struct relais_srv_ctx {
	struct bt_mesh_onoff_srv srv;	//server instance
	struct k_work_delayable work;
	uint32_t remaining;				//remaining time until operation is finished
	bool value;				//present or future value of the relais
	//function pointer that executes onOff of appliance
	bool (*relais_output)(bool onOFF_value);	
};


/// @brief control state of a relais
/// @param srv server instance
/// @param ctx context information for received message
/// @param set new onOff Status
/// @param rsp used to store the response
void relais_set(struct bt_mesh_onoff_srv *srv, struct bt_mesh_msg_ctx *ctx,
		    const struct bt_mesh_onoff_set *set,
		    struct bt_mesh_onoff_status *rsp);


/// @brief get state of a relais
/// @param srv server instance
/// @param ctx context information for received message
/// @param rsp used to store the response
void relais_get(struct bt_mesh_onoff_srv *srv, struct bt_mesh_msg_ctx *ctx,
		    struct bt_mesh_onoff_status *rsp);


/// @brief execute state setting in hardware
/// @param work 
void relais_work(struct k_work *work);


/// @brief function to call when the element was modified from outside, 
// e.g. due to safety mechanics
/// @param ctx 
/// @param value 
/// @param remaining_time 
void relais_update(struct relais_srv_ctx *ctx, 
			bool value, 
			uint32_t remaining_time);

#ifdef __cplusplus
}
#endif

#endif /* RELAIS_MODEL_H__ */
```

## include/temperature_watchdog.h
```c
#ifndef TEMPERATURE_WATCHDOG_H__
#define TEMPERATURE_WATCHDOG_H__


#define NUMBER_OF_OUTPUTS 2
#define TEMPERATURE_WATCHDOG_INTERVAL_MS 30000
#define TEMPERATURE_WATCHDOG_TEMPERATURE_OUTDATED_MS 45000
#define TEMPERATURE_WATCHDOG_MAX_TEMP 80

#include <inttypes.h>
#include <stddef.h>
#include <stdint.h>

#include <zephyr/device.h>
#include <zephyr/devicetree.h>
#include <zephyr/drivers/adc.h>
#include <zephyr/kernel.h>
#include <zephyr/sys/printk.h>
#include <zephyr/sys/util.h>

#include <zephyr/types.h>

#ifdef __cplusplus
extern "C" {
#endif

enum output_command_type {
    OUTPUT_COMMAND_TYPE_ONOFF,
    OUTPUT_COMMAND_TYPE_LEVEL,
};

struct output_command {
    int cmd_type;
    union {
        bool off_value;
        uint16_t off_level;
    };
    //these functions shall return what they have physically set on the output
    union {
        bool (*gpio_set)(bool value);
        uint16_t (*pwm_set)(uint16_t value);
    };
    // these function pointers shall update 
    // the respective structs of the appliances
    // e.g. when all appliances had to be turned off
    union {
        void (*gpio_update)(bool current_value);
        void (*pwm_update)(uint16_t current_level);
    };
};

struct temp_watchdog_ctx {
    //last read temperature
    int16_t temp;
    //time when temperature was last read
    int64_t last_fetched;
    //function that reads & returns the current temperature
    int16_t (*fetch_temperature)(void);
    //work function that gets scheduled regularly
    struct k_work_delayable work;
    //array of all output commands that shall be affected when overheating occurs
    struct output_command* output_commands[NUMBER_OF_OUTPUTS];
    //functions to execute when overheating occurred ...
    void (*notify_overheating)(void);
    // .. and pcb cooled down again
    void (*notify_normalized)(void);
    // store if currently overheated
    bool overheated;
};


/// @brief initialize the temperature watchdog
/// @param temp_ctx helper struct
/// @param fetch_temp function that returns the current temperature
/// @return 0 on success
int init_temperature_watchdog(struct temp_watchdog_ctx *temp_ctx, 
            int16_t (*fetch_temp)(void),
            void (*notify_overheat)(void), 
            void (*notify_ok)(void));


/// @brief wrapper function that only switches appliance on or off 
/// if temperature is within bounds
/// @param temp_ctx helper struct
/// @param cmd_number number that was assigned when command was registered
/// (normally in form of an enum)
/// @param onOFF_value the value to be set
/// @return onOff_value that has been physically set
bool safely_switch_onOff(struct temp_watchdog_ctx *temp_ctx, 
            const int cmd_number, 
            const bool onOFF_value);


/// @brief wrapper function that only switches appliance to new level
/// if temperature is within bounds
/// @param temp_ctx helper struct
/// @param cmd_number number that was assigned when command was registered
/// (normally in form of an enum)
/// @param level level to be set
/// @return level that has been physically set
uint16_t safely_switch_level(struct temp_watchdog_ctx *temp_ctx, 
            const int cmd_number, 
            const uint16_t level);


/// @brief register an output command that shall be affected by the watchdog
/// @param temp_ctx helper struct
/// @param cmd_ctx predefined struct of the command 
/// (including type, off value, set function)
/// @param cmd_number number that shall be assigned to the command
/// (normally in form of an enum)
/// @return 0 on success
int register_output_cmd(struct temp_watchdog_ctx *temp_ctx, 
            struct output_command *cmd_ctx, 
            const int cmd_number);


/// @brief remove an output command to not be longer affected by the watchdog
/// @param temp_ctx helper struct
/// @param cmd_number number that was assigned when command was registered
/// (normally in form of an enum)
/// @return 0 on success
int deregister_output_cmd(struct temp_watchdog_ctx *temp_ctx,
            const int cmd_number);






#ifdef __cplusplus
}
#endif

#endif /* TEMPERATURE_WATCHDOG_H__ */
```

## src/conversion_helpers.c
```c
#include "conversion_helpers.h"


uint16_t mesh_level2struct_level(int16_t mesh_level)
{
	return (uint16_t) 32768 + (uint16_t) mesh_level;
}


int16_t struct_level2mesh_level(uint16_t struct_level)
{
	return (int16_t) struct_level - (int16_t) 32768;
}
```
